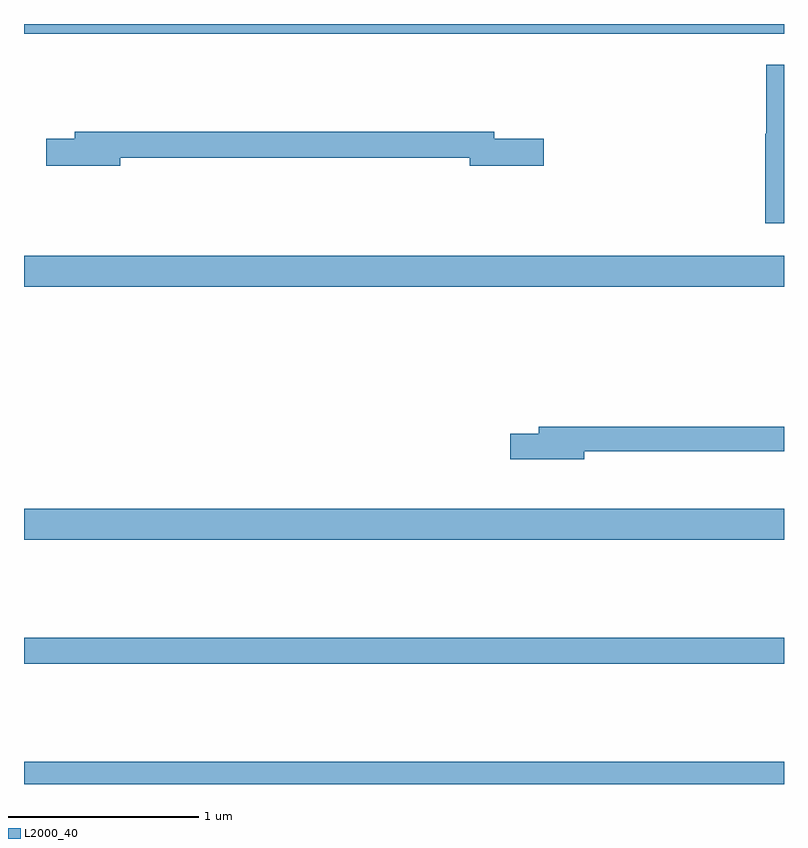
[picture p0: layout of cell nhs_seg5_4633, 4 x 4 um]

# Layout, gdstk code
import gdstk
lib = gdstk.Library(unit=1e-6, precision=1e-09)
def R(c, l, rs):  # rectangles x0, y0, x1, y1
    for r in rs: c.add(gdstk.rectangle(r[:2], r[2:], *l))
def P(c, l, *ps):  # polygons
    for p in ps: c.add(gdstk.Polygon(p, *l))
L2000_40 = (2000, 40)

nhs_seg5_4633 = lib.new_cell('nhs_seg5_4633')
R(nhs_seg5_4633, L2000_40, [(383,864.799,387,864.916), (383,865.432,387,865.568), (383,866.084,387,866.248), (383,867.416,387,867.58), (383,868.748,387,868.799)])
P(nhs_seg5_4633, L2000_40, [(387,868.585),(386.906,868.585),(386.906,868.221),(386.9,868.221),(386.9,867.75),(387,867.75)],
  [(383.506,868.096),(385.346,868.096),(385.346,868.054),(385.735,868.054),(385.735,868.196),(385.474,868.196),(385.474,868.232),(383.267,868.232),(383.267,868.196),(383.118,868.196),(383.118,868.054),(383.506,868.054)],
  [(385.948,866.55),(387,866.55),(387,866.678),(385.709,866.678),(385.709,866.642),(385.56,866.642),(385.56,866.507),(385.948,866.507)])

lib.write_gds('nhs_seg5_4633.gds')
